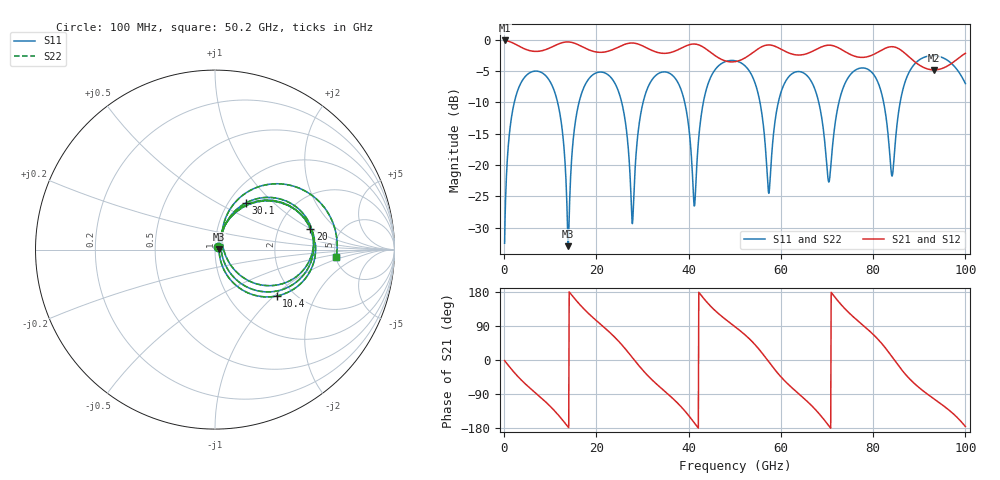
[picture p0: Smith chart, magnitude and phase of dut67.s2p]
! Touchstone file exported from HFSS 2026.1.0
!  File:  C:/ffzhzh/LocalFiles/Ansys_Project_Files/temp_train_TSV_RDL_67_1783448394_41684.aedt
!  Generated:  02:54:32 AM Jul  8, 2026
!  Design:  TSV_RDL
!  Project:  temp_train_TSV_RDL_67_1783448394_41684
! Variables:
!  h_bsmrdl = 4.33um
!  h_ox = 20um
!  h_rdl = 5um
!  h_sub = 87.35um
!  h_tmrdl = 4.15um
!  h_tsv = 87.35um
!  h_via = 3um
!  l_bsmrdl = 430.23um
!  l_sub = 4259.39um
!  l_tmrdl = 607.57um
!  m_sub = 200um
!  pitch = 54.08um
!  r_tsv = 5.56um
!  s_tmrdl = 10um
!  w_bsmrdl = 23.98um
!  w_sub = 500um
!  w_tmrdl = 22.16um
!  x_tsv_center1 = 618.65um
!  x_tsv_center2 = 1072.86um
!  x_tsv_center3 = 1702.59um
!  x_tsv_center4 = 2156.8um
!  x_tsv_center5 = 2786.53um
!  x_tsv_center6 = 3240.74um
# GHz S MA R 50.000000
! Terminal data exported
! Port[1] = TM_RDL1_1_T1
! Port[2] = TM_RDL5_1_T1
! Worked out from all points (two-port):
!   1000 points, 100 MHz to 100 GHz, reference 50 ohm
!   highest |S21| = -0.15 dB at 100 MHz (marker M1); lowest = -4.8 dB at 93.2 GHz (marker M2)
!   |S21| within 3 dB of the highest: start of sweep to 47.06 GHz; 51.65 GHz to 88.36 GHz (36.71 GHz wide, 52.4 % of centre) (the widest 2 of 3)
!   lowest |S11| = -32.9 dB at 13.9 GHz (marker M3), VSWR 1.05, Z = 52.3 + j0.193 ohm
!   |S11| at or under -10 dB: 11.59 GHz to 16.24 GHz (4.648 GHz wide, 33.4 % of centre); 25.48 GHz to 30.13 GHz (4.643 GHz wide, 16.7 % of centre); 68.21 GHz to 72.58 GHz (4.373 GHz wide, 6.21 % of centre) (the widest 3 of 7)
!   |S22| runs from -33.0 to -2.6 dB; largest |S21 - S12| = 9.2e-12
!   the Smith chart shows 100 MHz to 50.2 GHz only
!   S11 on the Smith chart (normalised r, x): 100 MHz: 1.03, +0.03; 10.4 GHz: 1.64, -1.04; 20 GHz: 3.01, +1.00; 30.1 GHz: 1.20, +0.69; 50.2 GHz: 5.07, -0.73
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0.1  0.02383 43.7  0.9831 -1.6  0.9831 -1.6  0.02383 43.7
! Gamma 0 0 0 0
! Port Impedance 50 0 50 0
3  0.3986 42.9  0.8944 -43.9  0.8944 -43.9  0.3986 42.9
10.4  0.4299 -37.0  0.8737 -127.3  0.8737 -127.3  0.43 -37.0
13.9  0.02258 4.7  0.9569 -177.2  0.9569 -177.2  0.02251 4.7
16.8  0.3734 47.0  0.881 141.0  0.881 141.0  0.3734 47.0
20  0.5431 12.4  0.7952 103.9  0.7952 103.9  0.5432 12.4
25.2  0.3464 -42.3  0.8858 44.4  0.8858 44.4  0.3465 -42.3
27.8  0.03412 3.9  0.9384 6.4  0.9384 6.4  0.034 3.9
30.1  0.3133 56.3  0.8871 -27.5  0.8871 -27.5  0.3133 56.3
33.4  0.5347 20.8  0.7868 -67.4  0.7868 -67.4  0.5347 20.8
41.7  0.09007 64.3  0.9169 -173.3  0.9169 -173.3  0.09027 64.0
50.1  0.6775 -2.4  0.6667 87.4  0.6667 87.4  0.6775 -2.5
50.2  0.6763 -3.3  0.6677 86.5  0.6677 86.5  0.6763 -3.3
57.4  0.05954 -1.2  0.9054 -5.3  0.9054 -5.3  0.05909 -1.2
60.6  0.4328 32.7  0.8168 -52.1  0.8168 -52.1  0.4327 32.8
66.7  0.4565 -28.0  0.8009 -120.9  0.8009 -120.9  0.4565 -28.0
70.4  0.07312 4.3  0.9016 -173.7  0.9016 -173.7  0.07334 4.3
74.9  0.5163 28.9  0.7652 122.9  0.7652 122.9  0.5162 28.9
83.4  0.1501 -40.7  0.8713 19.9  0.8713 19.9  0.15 -40.7
87.4  0.511 39.4  0.7481 -43.3  0.7481 -43.3  0.5111 39.3
93.2  0.7436 -12.5  0.5728 -102.7  0.5728 -102.7  0.7437 -12.5
100  0.4456 -77.7  0.7762 -175.6  0.7762 -175.6  0.4455 -77.8
